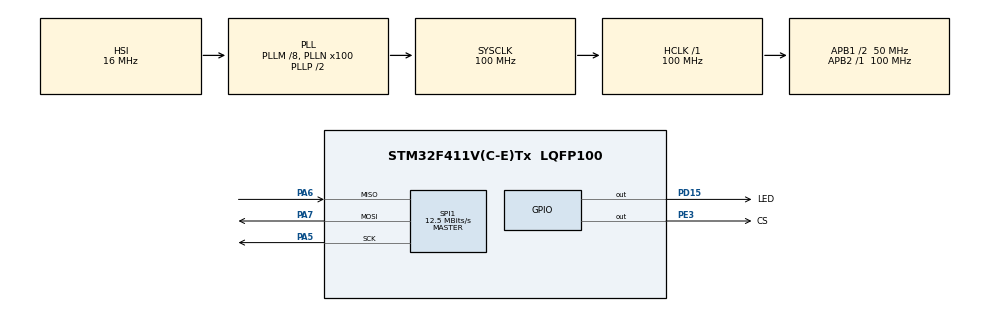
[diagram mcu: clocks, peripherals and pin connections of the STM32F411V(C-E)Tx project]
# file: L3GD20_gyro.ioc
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Mcu.Family=STM32F4
Mcu.Name=STM32F411V(C-E)Tx
Mcu.Package=LQFP100
NVIC.PriorityGroup=NVIC_PRIORITYGROUP_4
PA5.Mode=Full_Duplex_Master
PA5.Signal=SPI1_SCK
PA6.Mode=Full_Duplex_Master
PA6.Signal=SPI1_MISO
PA7.Mode=Full_Duplex_Master
PA7.Signal=SPI1_MOSI
PD15.GPIO_Label=LED
PD15.Signal=GPIO_Output
PE3.GPIO_Label=CS
PE3.Signal=GPIO_Output
ProjectManager.HeapSize=0x200
ProjectManager.StackSize=0x400
ProjectManager.TargetToolchain=SW4STM32
RCC.48MHZClocksFreq_Value=50000000
RCC.AHBFreq_Value=100000000
RCC.APB1CLKDivider=RCC_HCLK_DIV2
RCC.APB1Freq_Value=50000000
RCC.APB1TimFreq_Value=100000000
RCC.APB2Freq_Value=100000000
RCC.APB2TimFreq_Value=100000000
RCC.CortexFreq_Value=100000000
RCC.HCLKFreq_Value=100000000
RCC.HSE_VALUE=25000000
RCC.HSI_VALUE=16000000
RCC.LSE_VALUE=32768
RCC.PLLM=8
RCC.PLLN=100
RCC.SYSCLKFreq_VALUE=100000000
RCC.SYSCLKSource=RCC_SYSCLKSOURCE_PLLCLK
RCC.VCOOutputFreq_Value=200000000
RCC.VDD_VALUE=3.3
SPI1.BaudRatePrescaler=SPI_BAUDRATEPRESCALER_8
SPI1.CLKPhase=SPI_PHASE_1EDGE
SPI1.CLKPolarity=SPI_POLARITY_LOW
SPI1.CRCCalculation=SPI_CRCCALCULATION_DISABLE
SPI1.CalculateBaudRate=12.5 MBits/s
SPI1.Direction=SPI_DIRECTION_2LINES
SPI1.Mode=SPI_MODE_MASTER
SPI1.VirtualType=VM_MASTER
board=L3GD20_gyro

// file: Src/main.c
/**
 ******************************************************************************
 * File Name          : main.c
 * Description        : Main program body
 ******************************************************************************
 *
 * COPYRIGHT(c) 2017 STMicroelectronics
 *
 * Redistribution and use in source and binary forms, with or without modification,
 * are permitted provided that the following conditions are met:
 *   1. Redistributions of source code must retain the above copyright notice,
 *      this list of conditions and the following disclaimer.
 *   2. Redistributions in binary form must reproduce the above copyright notice,
 *      this list of conditions and the following disclaimer in the documentation
 *      and/or other materials provided with the distribution.
 *   3. Neither the name of STMicroelectronics nor the names of its contributors
 *      may be used to endorse or promote products derived from this software
 *      without specific prior written permission.
 *
 * THIS SOFTWARE IS PROVIDED BY THE COPYRIGHT HOLDERS AND CONTRIBUTORS "AS IS"
 * AND ANY EXPRESS OR IMPLIED WARRANTIES, INCLUDING, BUT NOT LIMITED TO, THE
 * IMPLIED WARRANTIES OF MERCHANTABILITY AND FITNESS FOR A PARTICULAR PURPOSE ARE
 * DISCLAIMED. IN NO EVENT SHALL THE COPYRIGHT HOLDER OR CONTRIBUTORS BE LIABLE
 * FOR ANY DIRECT, INDIRECT, INCIDENTAL, SPECIAL, EXEMPLARY, OR CONSEQUENTIAL
 * DAMAGES (INCLUDING, BUT NOT LIMITED TO, PROCUREMENT OF SUBSTITUTE GOODS OR
 * SERVICES; LOSS OF USE, DATA, OR PROFITS; OR BUSINESS INTERRUPTION) HOWEVER
 * CAUSED AND ON ANY THEORY OF LIABILITY, WHETHER IN CONTRACT, STRICT LIABILITY,
 * OR TORT (INCLUDING NEGLIGENCE OR OTHERWISE) ARISING IN ANY WAY OUT OF THE USE
 * OF THIS SOFTWARE, EVEN IF ADVISED OF THE POSSIBILITY OF SUCH DAMAGE.
 *
 ******************************************************************************
 */
#include "main.h"
#include "stm32f4xx_hal.h"
#include <limits.h>
#include <time.h>

SPI_HandleTypeDef hspi1;

/* USER CODE BEGIN PV */
/* Private variables ---------------------------------------------------------*/
#define L3GD20_WHO_AM_I				         0xD4
#define L3GD20_REGISTER_WHO_AM_I             0x0F   // 11010100   r
#define L3GD20_REGISTER_CTRL_REG1            0x20   // 00000111   rw
#define L3GD20_REGISTER_CTRL_REG2            0x21   // 00000000   rw
#define L3GD20_REGISTER_CTRL_REG3            0x22   // 00000000   rw
#define L3GD20_REGISTER_CTRL_REG4            0x23   // 00000000   rw
#define L3GD20_REGISTER_CTRL_REG5            0x24   // 00000000   rw
#define L3GD20_REGISTER_REFERENCE            0x25   // 00000000   rw
#define L3GD20_REGISTER_OUT_TEMP             0x26   //            r
#define L3GD20_REGISTER_STATUS_REG           0x27   //            r
#define L3GD20_REGISTER_OUT_X_L              0x28   //            r
#define L3GD20_REGISTER_OUT_X_H              0x29   //            r
#define L3GD20_REGISTER_OUT_Y_L              0x2A   //            r
#define L3GD20_REGISTER_OUT_Y_H              0x2B   //            r
#define L3GD20_REGISTER_OUT_Z_L              0x2C   //            r
#define L3GD20_REGISTER_OUT_Z_H              0x2D   //            r
#define L3GD20_REGISTER_FIFO_CTRL_REG        0x2E   // 00000000   rw
#define L3GD20_REGISTER_FIFO_SRC_REG         0x2F   //            r
#define L3GD20_REGISTER_INT1_CFG             0x30   // 00000000   rw
#define L3GD20_REGISTER_INT1_SRC             0x31   //            r
#define L3GD20_REGISTER_TSH_XH               0x32   // 00000000   rw
#define L3GD20_REGISTER_TSH_XL               0x33   // 00000000   rw
#define L3GD20_REGISTER_TSH_YH               0x34   // 00000000   rw
#define L3GD20_REGISTER_TSH_YL               0x35   // 00000000   rw
#define L3GD20_REGISTER_TSH_ZH               0x36   // 00000000   rw
#define L3GD20_REGISTER_TSH_ZL               0x37   // 00000000   rw
#define L3GD20_REGISTER_INT1_DURATION        0x38   // 00000000   rw

#define L3GD20_SENSITIVITY_250		0.00875	/* 8.75 mdps/digit */
#define L3GD20_SENSITIVITY_500		0.0175	/* 17.5 mdps/digit */
#define L3GD20_SENSITIVITY_2000		0.070	/* 70 mdps/digit */
//#define GYRO_FS_DPS 250

#define CS_LOW HAL_GPIO_WritePin(CS_GPIO_Port, CS_Pin, 0)
#define CS_HIGH HAL_GPIO_WritePin(CS_GPIO_Port, CS_Pin, 1)

uint8_t settings, address;
uint8_t data[6];
int16_t angular_velocity_x;
int16_t angular_velocity_y;
int16_t angular_velocity_z;
float angle_x; //degrees
float angle_y; //degrees
float angle_z; //degrees
float temp, s;
/* USER CODE END PV */

void SystemClock_Config(void);
void Error_Handler(void);
static void MX_GPIO_Init(void);
static void MX_SPI1_Init(void);

/* USER CODE BEGIN PFP */
/* Private function prototypes -----------------------------------------------*/
uint8_t readGyro(uint8_t address);
void sendSettings(uint8_t address, uint8_t settings);
/* USER CODE END PFP */

int main(void) {

	/* USER CODE BEGIN 1 */
	float dt = 0.000043;
	/* USER CODE END 1 */

	/* MCU Configuration----------------------------------------------------------*/

	/* Reset of all peripherals, Initializes the Flash interface and the Systick. */
	HAL_Init();

	/* Configure the system clock */
	SystemClock_Config();

	/* Initialize all configured peripherals */
	MX_GPIO_Init();
	MX_SPI1_Init();

	/* USER CODE BEGIN 2 */

	// Settings - begin
	sendSettings(L3GD20_REGISTER_CTRL_REG1, 0x0F);
	sendSettings(L3GD20_REGISTER_CTRL_REG2, 0x00);
	sendSettings(L3GD20_REGISTER_CTRL_REG3, 0x00);
	sendSettings(L3GD20_REGISTER_CTRL_REG4, 0x00);
	sendSettings(L3GD20_REGISTER_CTRL_REG5, 0x10);

//	CS_LOW;
//	address = L3GD20_REGISTER_CTRL_REG1;
//	HAL_SPI_Transmit(&hspi1, &address, 1, 50);
//	settings = 0x0F;
//	HAL_SPI_Transmit(&hspi1, &settings, 1, 50);
//	CS_HIGH;
//
//	CS_LOW;
//	address = L3GD20_REGISTER_CTRL_REG2;
//	HAL_SPI_Transmit(&hspi1, &address, 1, 50);
//	settings = 0x00;
//	HAL_SPI_Transmit(&hspi1, &settings, 1, 50);
//	CS_HIGH;
//
//	CS_LOW;
//	address = L3GD20_REGISTER_CTRL_REG3;
//	HAL_SPI_Transmit(&hspi1, &address, 1, 50);
//	settings = 0x00;
//	HAL_SPI_Transmit(&hspi1, &settings, 1, 50);
//	CS_HIGH;
//
//	CS_LOW;
//	address = L3GD20_REGISTER_CTRL_REG4;
//	HAL_SPI_Transmit(&hspi1, &address, 1, 50);
//	settings = 0x00;
//	HAL_SPI_Transmit(&hspi1, &settings, 1, 50);
//	CS_HIGH;
//
//	CS_LOW;
//	address = L3GD20_REGISTER_CTRL_REG5;
//	HAL_SPI_Transmit(&hspi1, &address, 1, 50);
//	settings = 0x10;
//	HAL_SPI_Transmit(&hspi1, &settings, 1, 50);
//	CS_HIGH;
	// Settings - end
	/* USER CODE END 2 */

	/* Infinite loop */
	/* USER CODE BEGIN WHILE */
	while (1) {

		data[0] = readGyro(L3GD20_REGISTER_OUT_X_L);
		data[1] = readGyro(L3GD20_REGISTER_OUT_X_H);
		data[2] = readGyro(L3GD20_REGISTER_OUT_Y_L);
		data[3] = readGyro(L3GD20_REGISTER_OUT_Y_H);
		data[4] = readGyro(L3GD20_REGISTER_OUT_Z_L);
		data[5] = readGyro(L3GD20_REGISTER_OUT_Z_H);

//		CS_LOW;
//		address = L3GD20_REGISTER_OUT_X_L | 0x80;
//		HAL_SPI_Transmit(&hspi1, &address, 1, 50);
//		HAL_SPI_Receive(&hspi1, &data[0], 1, 50);
//		CS_HIGH;
//
//		CS_LOW;
//		address = L3GD20_REGISTER_OUT_X_H | 0x80;
//		HAL_SPI_Transmit(&hspi1, &address, 1, 50);
//		HAL_SPI_Receive(&hspi1, &data[1], 1, 50);
//		CS_HIGH;
//
//		CS_LOW;
//		address = L3GD20_REGISTER_OUT_Y_L | 0x80;
//		HAL_SPI_Transmit(&hspi1, &address, 1, 50);
//		HAL_SPI_Receive(&hspi1, &data[2], 1, 50);
//		CS_HIGH;
//
//		CS_LOW;
//		address = L3GD20_REGISTER_OUT_Y_H | 0x80;
//		HAL_SPI_Transmit(&hspi1, &address, 1, 50);
//		HAL_SPI_Receive(&hspi1, &data[3], 1, 50);
//		CS_HIGH;
//
//		CS_LOW;
//		address = L3GD20_REGISTER_OUT_Z_L | 0x80;
//		HAL_SPI_Transmit(&hspi1, &address, 1, 50);
//		HAL_SPI_Receive(&hspi1, &data[4], 1, 50);
//		CS_HIGH;
//
//		CS_LOW;
//		address = L3GD20_REGISTER_OUT_Z_H | 0x80;
//		HAL_SPI_Transmit(&hspi1, &address, 1, 50);
//		HAL_SPI_Receive(&hspi1, &data[5], 1, 50);
//		CS_HIGH;

		HAL_GPIO_TogglePin(LED_GPIO_Port, LED_Pin);
//		HAL_Delay(200);
		angular_velocity_x = (int16_t)((data[1] << 8) | data[0]); // x
		angular_velocity_y = (int16_t)((data[3] << 8) | data[2]); // y
		angular_velocity_z = (int16_t)((data[5] << 8) | data[4]); // z

		s = L3GD20_SENSITIVITY_250;

		temp = (float)angular_velocity_x * s;
		angular_velocity_x = (int16_t) (temp);

		temp = (float)angular_velocity_y * s;
		angular_velocity_y = (int16_t) (temp);

		temp = (float)angular_velocity_z * s;
		angular_velocity_z = (int16_t) (temp);

		angle_x += angular_velocity_x*dt;
		angle_y += angular_velocity_y*dt;
		angle_z += angular_velocity_z*dt;

		/* USER CODE END WHILE */

	}

}

/** System Clock Configuration
 */
void SystemClock_Config(void) {

	RCC_OscInitTypeDef RCC_OscInitStruct;
	RCC_ClkInitTypeDef RCC_ClkInitStruct;

	/**Configure the main internal regulator output voltage
	 */
	__HAL_RCC_PWR_CLK_ENABLE()
	;

	__HAL_PWR_VOLTAGESCALING_CONFIG(PWR_REGULATOR_VOLTAGE_SCALE1);

	/**Initializes the CPU, AHB and APB busses clocks
	 */
	RCC_OscInitStruct.OscillatorType = RCC_OSCILLATORTYPE_HSI;
	RCC_OscInitStruct.HSIState = RCC_HSI_ON;
	RCC_OscInitStruct.HSICalibrationValue = 16;
	RCC_OscInitStruct.PLL.PLLState = RCC_PLL_ON;
	RCC_OscInitStruct.PLL.PLLSource = RCC_PLLSOURCE_HSI;
	RCC_OscInitStruct.PLL.PLLM = 8;
	RCC_OscInitStruct.PLL.PLLN = 100;
	RCC_OscInitStruct.PLL.PLLP = RCC_PLLP_DIV2;
	RCC_OscInitStruct.PLL.PLLQ = 4;
	if (HAL_RCC_OscConfig(&RCC_OscInitStruct) != HAL_OK) {
		Error_Handler();
	}

	/**Initializes the CPU, AHB and APB busses clocks
	 */
	RCC_ClkInitStruct.ClockType = RCC_CLOCKTYPE_HCLK | RCC_CLOCKTYPE_SYSCLK
			| RCC_CLOCKTYPE_PCLK1 | RCC_CLOCKTYPE_PCLK2;
	RCC_ClkInitStruct.SYSCLKSource = RCC_SYSCLKSOURCE_PLLCLK;
	RCC_ClkInitStruct.AHBCLKDivider = RCC_SYSCLK_DIV1;
	RCC_ClkInitStruct.APB1CLKDivider = RCC_HCLK_DIV2;
	RCC_ClkInitStruct.APB2CLKDivider = RCC_HCLK_DIV1;

	if (HAL_RCC_ClockConfig(&RCC_ClkInitStruct, FLASH_LATENCY_3) != HAL_OK) {
		Error_Handler();
	}

	/**Configure the Systick interrupt time
	 */
	HAL_SYSTICK_Config(HAL_RCC_GetHCLKFreq() / 1000);

	/**Configure the Systick
	 */
	HAL_SYSTICK_CLKSourceConfig(SYSTICK_CLKSOURCE_HCLK);

	/* SysTick_IRQn interrupt configuration */
	HAL_NVIC_SetPriority(SysTick_IRQn, 0, 0);
}

/* SPI1 init function */
static void MX_SPI1_Init(void) {

	hspi1.Instance = SPI1;
	hspi1.Init.Mode = SPI_MODE_MASTER;
	hspi1.Init.Direction = SPI_DIRECTION_2LINES;
	hspi1.Init.DataSize = SPI_DATASIZE_8BIT;
	hspi1.Init.CLKPolarity = SPI_POLARITY_LOW;
	hspi1.Init.CLKPhase = SPI_PHASE_1EDGE;
	hspi1.Init.NSS = SPI_NSS_SOFT;
	hspi1.Init.BaudRatePrescaler = SPI_BAUDRATEPRESCALER_8;
	hspi1.Init.FirstBit = SPI_FIRSTBIT_MSB;
	hspi1.Init.TIMode = SPI_TIMODE_DISABLE;
	hspi1.Init.CRCCalculation = SPI_CRCCALCULATION_DISABLE;
	hspi1.Init.CRCPolynomial = 10;
	if (HAL_SPI_Init(&hspi1) != HAL_OK) {
		Error_Handler();
	}

}

/** Configure pins as
 * Analog
 * Input
 * Output
 * EVENT_OUT
 * EXTI
 */
static void MX_GPIO_Init(void) {

	GPIO_InitTypeDef GPIO_InitStruct;

	/* GPIO Ports Clock Enable */
	__HAL_RCC_GPIOE_CLK_ENABLE()
	;
	__HAL_RCC_GPIOA_CLK_ENABLE()
	;
	__HAL_RCC_GPIOD_CLK_ENABLE()
	;

	/*Configure GPIO pin Output Level */
	HAL_GPIO_WritePin(CS_GPIO_Port, CS_Pin, GPIO_PIN_RESET);

	/*Configure GPIO pin Output Level */
	HAL_GPIO_WritePin(LED_GPIO_Port, LED_Pin, GPIO_PIN_RESET);

	/*Configure GPIO pin : CS_Pin */
	GPIO_InitStruct.Pin = CS_Pin;
	GPIO_InitStruct.Mode = GPIO_MODE_OUTPUT_PP;
	GPIO_InitStruct.Pull = GPIO_NOPULL;
	GPIO_InitStruct.Speed = GPIO_SPEED_FREQ_LOW;
	HAL_GPIO_Init(CS_GPIO_Port, &GPIO_InitStruct);

	/*Configure GPIO pin : LED_Pin */
	GPIO_InitStruct.Pin = LED_Pin;
	GPIO_InitStruct.Mode = GPIO_MODE_OUTPUT_PP;
	GPIO_InitStruct.Pull = GPIO_NOPULL;
	GPIO_InitStruct.Speed = GPIO_SPEED_FREQ_LOW;
	HAL_GPIO_Init(LED_GPIO_Port, &GPIO_InitStruct);

}

/* USER CODE BEGIN 4 */
uint8_t readGyro(uint8_t address) {
	CS_LOW;
	address |= 0x80;
	uint8_t data;
	HAL_SPI_Transmit(&hspi1, &address, 1, 50);
	HAL_SPI_Receive(&hspi1, &data, 1, 50);
	CS_HIGH;
	return data;
}

void sendSettings(uint8_t address, uint8_t settings) {
	CS_LOW;
	HAL_SPI_Transmit(&hspi1, &address, 1, 50);
	HAL_SPI_Transmit(&hspi1, &settings, 1, 50);
	CS_HIGH;
}
/* USER CODE END 4 */

void Error_Handler(void) {
	while (1) {
	}
}

/************************ (C) COPYRIGHT STMicroelectronics *****END OF FILE****/
